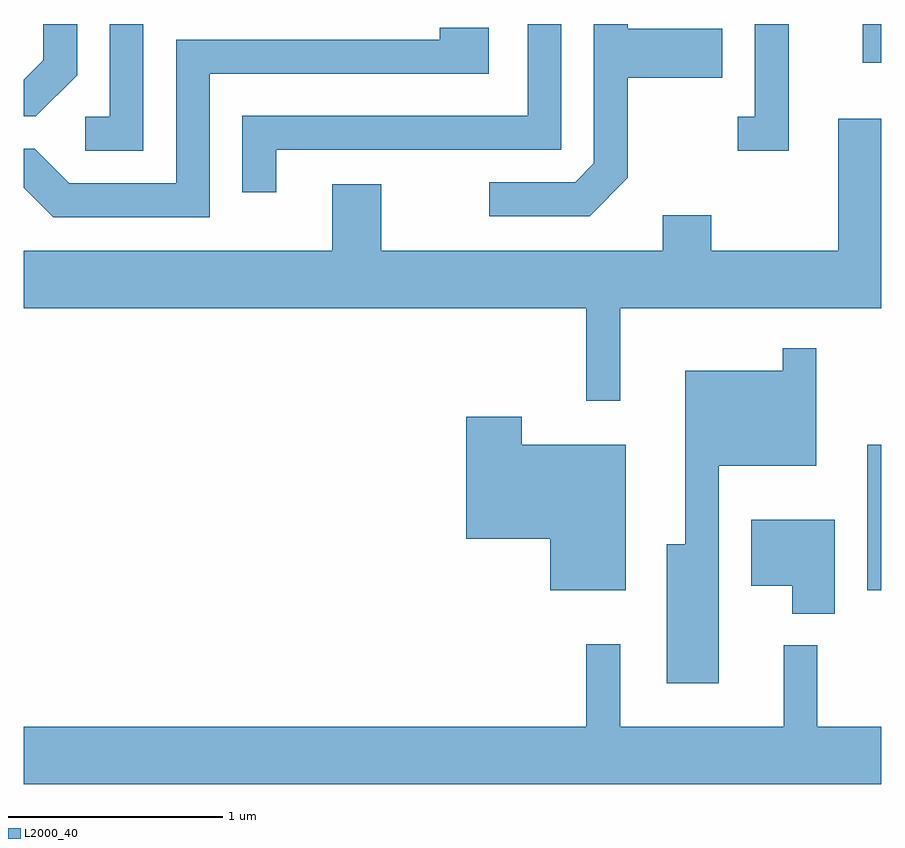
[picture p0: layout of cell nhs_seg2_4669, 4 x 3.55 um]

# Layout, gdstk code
import gdstk
lib = gdstk.Library(unit=1e-6, precision=1e-09)
def R(c, l, rs):  # rectangles x0, y0, x1, y1
    for r in rs: c.add(gdstk.rectangle(r[:2], r[2:], *l))
def P(c, l, *ps):  # polygons
    for p in ps: c.add(gdstk.Polygon(p, *l))
L2000_40 = (2000, 40)

nhs_seg2_4669 = lib.new_cell('nhs_seg2_4669')
R(nhs_seg2_4669, L2000_40, [(325.546,1109.161,325.611,1109.839), (325.526,1111.621,325.611,1111.802)])
P(nhs_seg2_4669, L2000_40, [(322.789,1111.216),(324.119,1111.216),(324.119,1111.802),(323.961,1111.802),(323.961,1111.374),(322.631,1111.374),(322.631,1111.018),(322.789,1111.018)],
  [(322.169,1111.802),(322.011,1111.802),(322.011,1111.369),(321.898,1111.369),(321.898,1111.211),(322.169,1111.211)],
  [(321.859,1111.564),(321.859,1111.802),(321.701,1111.802),(321.701,1111.632),(321.611,1111.541),(321.611,1111.371),(321.667,1111.371)],
  [(324.429,1111.084),(324.429,1111.551),(324.869,1111.551),(324.869,1111.779),(324.429,1111.779),(324.429,1111.802),(324.271,1111.802),(324.271,1111.152),(324.184,1111.064),(323.783,1111.064),(323.783,1110.906),(324.252,1110.906)],
  [(325.179,1111.802),(325.021,1111.802),(325.021,1111.369),(324.943,1111.369),(324.943,1111.211),(325.179,1111.211)],
  [(322.479,1111.571),(323.779,1111.571),(323.779,1111.784),(323.551,1111.784),(323.551,1111.729),(322.321,1111.729),(322.321,1111.059),(321.822,1111.059),(321.662,1111.219),(321.611,1111.219),(321.611,1111.039),(321.749,1110.901),(322.479,1110.901)],
  [(324.394,1110.476),(325.611,1110.476),(325.611,1111.359),(325.411,1111.359),(325.411,1110.744),(324.819,1110.744),(324.819,1110.909),(324.591,1110.909),(324.591,1110.744),(323.279,1110.744),(323.279,1111.054),(323.051,1111.054),(323.051,1110.744),(321.611,1110.744),(321.611,1110.476),(324.236,1110.476),(324.236,1110.043),(324.394,1110.043)],
  [(324.854,1109.741),(325.309,1109.741),(325.309,1110.288),(325.151,1110.288),(325.151,1110.184),(324.696,1110.184),(324.696,1109.374),(324.611,1109.374),(324.611,1108.726),(324.854,1108.726)],
  [(324.419,1109.839),(323.934,1109.839),(323.934,1109.969),(323.676,1109.969),(323.676,1109.401),(324.066,1109.401),(324.066,1109.161),(324.419,1109.161)],
  [(325.394,1109.489),(325.006,1109.489),(325.006,1109.181),(325.196,1109.181),(325.196,1109.051),(325.394,1109.051)],
  [(325.611,1108.524),(325.314,1108.524),(325.314,1108.903),(325.156,1108.903),(325.156,1108.524),(324.394,1108.524),(324.394,1108.908),(324.236,1108.908),(324.236,1108.524),(321.611,1108.524),(321.611,1108.256),(325.611,1108.256)])

lib.write_gds('nhs_seg2_4669.gds')
